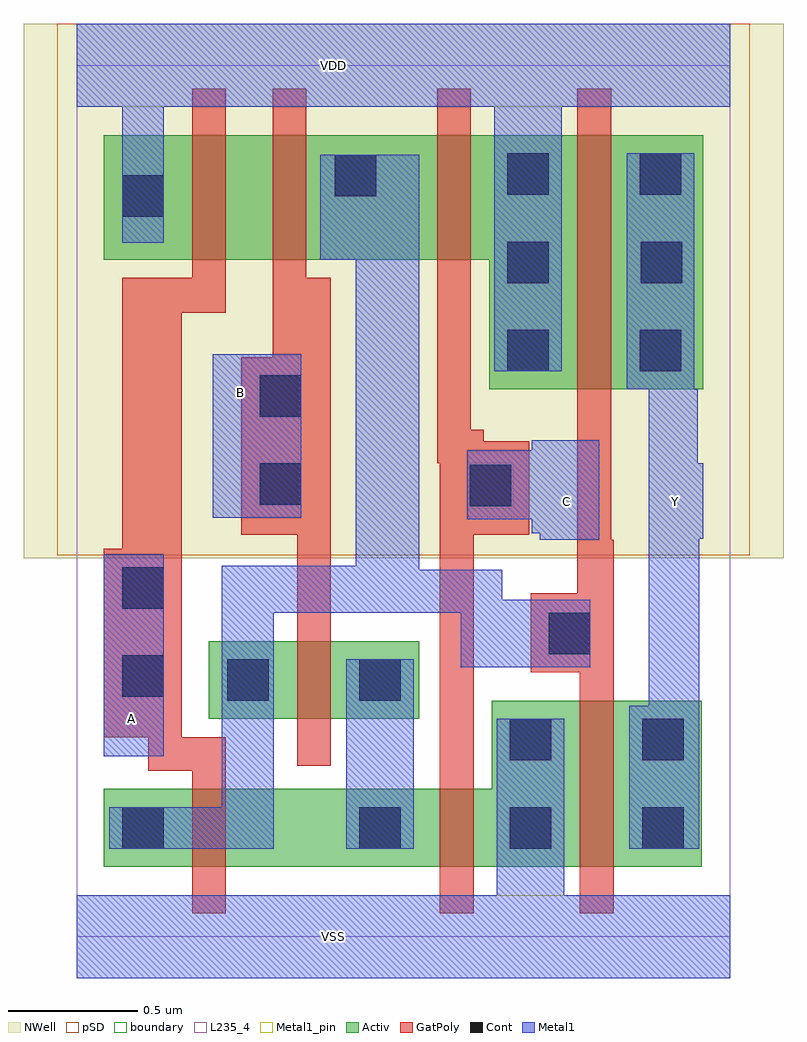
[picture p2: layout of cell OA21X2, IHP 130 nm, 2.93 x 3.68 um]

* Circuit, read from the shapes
.subckt OA21X2 A B C VDD VSS Y
XM1 n1 A n2 VSUBS sg13_lv_nmos w=0.3u l=0.13u
XM2 n1 B n2 VSUBS sg13_lv_nmos w=0.3u l=0.13u
XM3 VSS C n1 VSUBS sg13_lv_nmos w=0.3u l=0.13u
XM4 Y n2 VSS VSUBS sg13_lv_nmos w=0.64u l=0.13u
XM5 n3 A VDD n4 sg13_lv_pmos w=0.48u l=0.13u
XM6 n2 B n3 n4 sg13_lv_pmos w=0.48u l=0.13u
XM7 VDD C n2 n4 sg13_lv_pmos w=0.48u l=0.13u
XM8 Y n2 VDD n4 sg13_lv_pmos w=0.98u l=0.13u
.ends

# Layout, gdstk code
import gdstk
lib = gdstk.Library(unit=1e-6, precision=1e-09)
def R(c, l, rs):  # rectangles x0, y0, x1, y1
    for r in rs: c.add(gdstk.rectangle(r[:2], r[2:], *l))
def A(c, l, x, y, w, h, nx, ny, dx, dy):  # array of equal rectangles
    R(c, l, [(x+i*dx, y+j*dy, x+i*dx+w, y+j*dy+h) for i in range(nx) for j in range(ny)])
def P(c, l, *ps):  # polygons
    for p in ps: c.add(gdstk.Polygon(p, *l))
Activ = (1, 0)
GatPoly = (5, 0)
Cont = (6, 0)
Metal1 = (8, 0)
Metal1_pin = (8, 2)
pSD = (14, 0)
NWell = (31, 0)
boundary = (189, 4)
L235_4 = (235, 4)

oa21x2 = lib.new_cell('OA21X2')
R(oa21x2, Activ, [(0.51,0.84,1.32,1.14)])
P(oa21x2, Activ, [(1.59,2.11),(1.59,2.61),(0.105,2.61),(0.105,3.09),(2.415,3.09),(2.415,2.11)],
  [(0.105,0.27),(0.105,0.57),(1.6,0.57),(1.6,0.91),(2.41,0.91),(2.41,0.27)])
P(oa21x2, GatPoly, [(0.85,0.66),(0.85,1.55),(0.635,1.55),(0.635,2.235),(0.755,2.235),(0.755,3.27),(0.885,3.27),(0.885,2.54),(0.98,2.54),(0.98,0.66)],
  [(0.445,0.09),(0.445,0.64),(0.275,0.64),(0.275,0.77),(0.105,0.77),(0.105,1.495),(0.175,1.495),(0.175,2.54),(0.445,2.54),(0.445,3.27),(0.575,3.27),(0.575,2.405),(0.405,2.405),(0.405,0.77),(0.575,0.77),(0.575,0.09)],
  [(1.4,0.09),(1.4,1.825),(1.39,1.825),(1.39,3.27),(1.52,3.27),(1.52,1.955),(1.57,1.955),(1.57,1.91),(1.745,1.91),(1.745,1.55),(1.53,1.55),(1.53,0.09)],
  [(1.94,0.09),(1.94,1.02),(1.75,1.02),(1.75,1.325),(1.93,1.325),(1.93,3.27),(2.06,3.27),(2.06,1.53),(2.07,1.53),(2.07,0.09)])
A(oa21x2, Cont, 1.66, 2.18, 0.16, 0.16, 1, 3, 0, 0.34)
R(oa21x2, Cont, [(0.175,0.34,0.335,0.5), (1.09,0.34,1.25,0.5), (1.67,0.34,1.83,0.5), (2.18,0.34,2.34,0.5), (1.67,0.68,1.83,0.84), (2.18,0.68,2.34,0.84), (0.58,0.91,0.74,1.07), (1.09,0.91,1.25,1.07), (0.175,0.925,0.335,1.085), (1.82,1.09,1.98,1.25), (0.175,1.265,0.335,1.425), (1.515,1.66,1.675,1.82), (0.705,1.665,0.865,1.825), (0.705,2.005,0.865,2.165), (2.17,2.18,2.33,2.34), (2.175,2.52,2.335,2.68), (0.175,2.775,0.335,2.935), (0.995,2.855,1.155,3.015), (2.17,2.86,2.33,3.02)])
R(oa21x2, Metal1, [(1.04,0.34,1.3,1.07), (0.105,0.695,0.335,1.475), (0.525,1.615,0.865,2.245)])
P(oa21x2, Metal1, [(1.785,1.53),(1.785,1.555),(1.755,1.555),(1.755,1.61),(1.505,1.61),(1.505,1.875),(1.755,1.875),(1.755,1.915),(2.015,1.915),(2.015,1.53)],
  [(0,-0.16),(0,0.16),(1.62,0.16),(1.62,0.84),(1.88,0.84),(1.88,0.16),(2.52,0.16),(2.52,-0.16)],
  [(1.61,2.18),(1.61,3.2),(0.335,3.2),(0.335,2.675),(0.175,2.675),(0.175,3.2),(0,3.2),(0,3.52),(2.52,3.52),(2.52,3.2),(1.87,3.2),(1.87,2.18)],
  [(2.13,0.34),(2.13,0.89),(2.205,0.89),(2.205,2.11),(2.12,2.11),(2.12,3.02),(2.38,3.02),(2.38,2.11),(2.395,2.11),(2.395,1.825),(2.415,1.825),(2.415,1.535),(2.4,1.535),(2.4,0.34)],
  [(0.125,0.34),(0.125,0.5),(0.56,0.5),(0.56,1.43),(1.075,1.43),(1.075,2.61),(0.94,2.61),(0.94,3.015),(1.32,3.015),(1.32,1.415),(1.64,1.415),(1.64,1.3),(1.98,1.3),(1.98,1.04),(1.48,1.04),(1.48,1.25),(0.76,1.25),(0.76,0.34)])
R(oa21x2, Metal1_pin, [(0,-0.16,2.52,0.16), (0.105,0.695,0.335,1.475), (0.525,1.615,0.865,2.245), (0,3.2,2.52,3.52)])
P(oa21x2, Metal1_pin, [(1.785,1.53),(1.785,1.555),(1.755,1.555),(1.755,1.61),(1.505,1.61),(1.505,1.875),(1.755,1.875),(1.755,1.915),(2.015,1.915),(2.015,1.53)],
  [(2.13,0.34),(2.13,0.89),(2.205,0.89),(2.205,2.11),(2.12,2.11),(2.12,3.02),(2.38,3.02),(2.38,2.11),(2.395,2.11),(2.395,1.825),(2.415,1.825),(2.415,1.535),(2.4,1.535),(2.4,0.34)])
R(oa21x2, pSD, [(-0.075,1.47,2.595,3.52)])
R(oa21x2, NWell, [(-0.205,1.46,2.725,3.52)])
R(oa21x2, boundary, [(0,0,2.52,3.36)])
R(oa21x2, L235_4, [(0,0,2.52,3.36)])
oa21x2.add(gdstk.Label('C', (1.89,1.68), layer=8, texttype=25))
oa21x2.add(gdstk.Label('Y', (2.31,1.68), layer=8, texttype=25))
oa21x2.add(gdstk.Label('B', (0.63,2.1), layer=8, texttype=25))
oa21x2.add(gdstk.Label('A', (0.21,0.84), layer=8, texttype=25))
oa21x2.add(gdstk.Label('VDD', (0.99,3.36), layer=8, texttype=25))
oa21x2.add(gdstk.Label('VSS', (0.99,0), layer=8, texttype=25))

lib.write_gds('OA21X2.gds')
